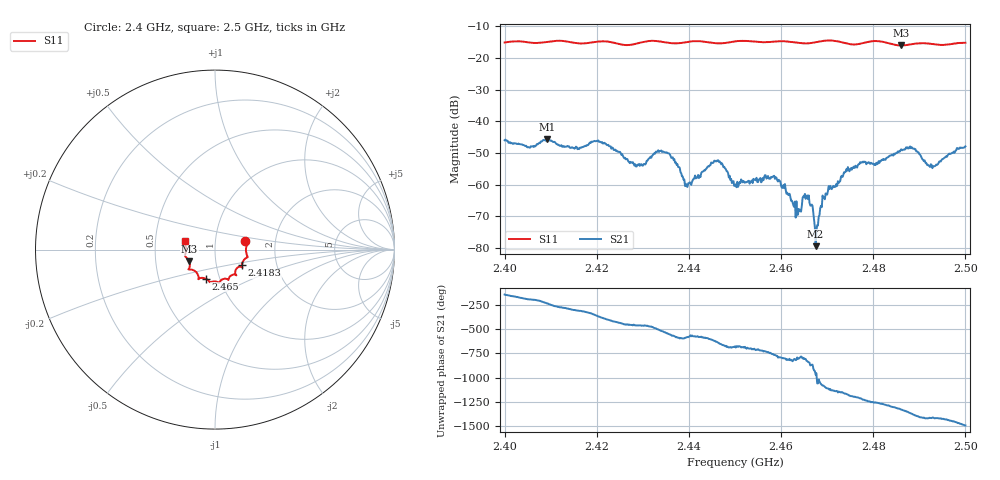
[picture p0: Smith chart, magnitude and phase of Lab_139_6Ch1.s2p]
# Hz S RI R 50
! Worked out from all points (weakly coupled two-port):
!   601 points, 2.4 GHz to 2.5 GHz, reference 50 ohm
!   highest |S21| = -45.66 dB at 2.4092 GHz (marker M1); lowest = -79.5 dB at 2.4675 GHz (marker M2)
!   lowest |S11| = -16.1 dB at 2.486 GHz (marker M3), VSWR 1.37, Z = 37.2 - j4.96 ohm
!   |S11| at or under -10 dB: start of sweep to end of sweep
!   S12 and S22 are empty: the file has one direction only
!   S11 on the Smith chart (normalised r, x): 2.4 GHz: 1.40, +0.13; 2.4183 GHz: 1.33, -0.24; 2.465 GHz: 0.86, -0.29; 2.5 GHz: 0.71, +0.07
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2.4e9  0.1693 0.046  -0.00397 -0.00306  0 0  0 0
2.409167e9  0.1768 -0.0287  -0.00307 0.00421  0 0  0 0
2.416667e9  0.155 -0.0683  0.00263 0.00278  0 0  0 0
2.418333e9  0.1499 -0.0872  0.00381 0.00225  0 0  0 0
2.4285e9  0.1125 -0.124  -0.000296 -0.00191  0 0  0 0
2.433333e9  0.1175 -0.1409  -0.00274 -0.00214  0 0  0 0
2.436e9  0.0999 -0.1398  -0.00275 0.000768  0 0  0 0
2.439667e9  0.0764 -0.1616  -0.0007 0.000588  0 0  0 0
2.446e9  0.0531 -0.1621  -3.36e-05 0.00233  0 0  0 0
2.45e9  0.0255 -0.1808  0.000695 0.000679  0 0  0 0
2.4585e9  -0.021 -0.1799  0.00097 -0.000975  0 0  0 0
2.463667e9  -0.0401 -0.169  2.18e-05 -0.000335  0 0  0 0
2.465e9  -0.0523 -0.1618  0.000128 -0.000614  0 0  0 0
2.466667e9  -0.0713 -0.1573  -0.0004 -0.00027  0 0  0 0
2.4675e9  -0.0795 -0.1581  -3.82e-05 9.92e-05  0 0  0 0
2.4695e9  -0.0912 -0.1636  0.000571 -0.000126  0 0  0 0
2.474e9  -0.0947 -0.1422  0.000167 -0.00158  0 0  0 0
2.483333e9  -0.1414 -0.0964  -0.00247 0.00119  0 0  0 0
2.486e9  -0.1432 -0.0651  -0.00138 0.0033  0 0  0 0
2.4885e9  -0.16 -0.0435  0.00155 0.00337  0 0  0 0
2.493333e9  -0.1632 -0.0167  0.00181 0.000723  0 0  0 0
2.5e9  -0.1671 0.047  0.00248 -0.00316  0 0  0 0
